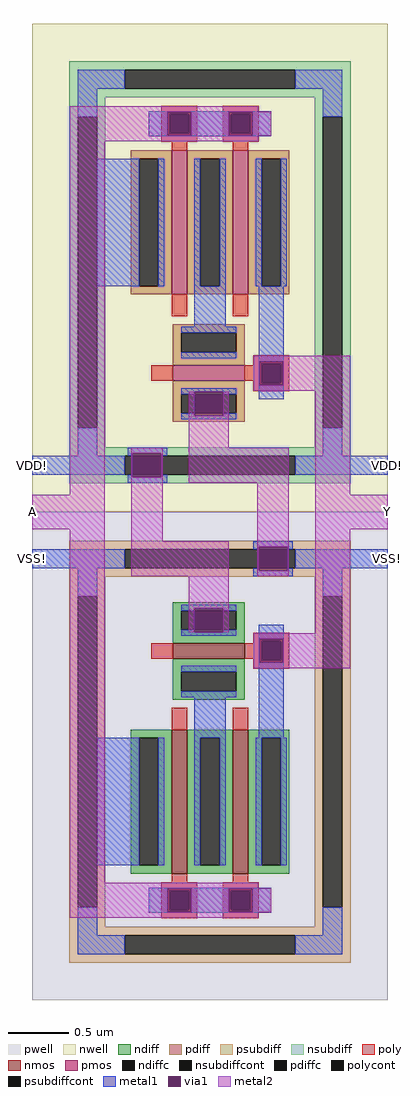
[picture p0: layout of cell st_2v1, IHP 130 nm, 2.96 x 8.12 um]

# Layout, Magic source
magic
tech ihp-sg13g2
magscale 1 2
<< nwell >>
rect -92 -282 500 530
<< pwell >>
rect -92 -1094 500 -282
<< nmos >>
rect 142 -526 262 -500
rect 140 -884 166 -644
rect 242 -884 268 -644
<< pmos >>
rect 140 80 166 320
rect 242 80 268 320
rect 142 -64 262 -38
<< ndiff >>
rect 142 -446 262 -432
rect 142 -478 156 -446
rect 248 -478 262 -446
rect 142 -500 262 -478
rect 142 -548 262 -526
rect 142 -580 156 -548
rect 248 -580 262 -548
rect 142 -594 262 -580
rect 72 -658 140 -644
rect 72 -870 86 -658
rect 118 -870 140 -658
rect 72 -884 140 -870
rect 166 -658 242 -644
rect 166 -870 188 -658
rect 220 -870 242 -658
rect 166 -884 242 -870
rect 268 -658 336 -644
rect 268 -870 290 -658
rect 322 -870 336 -658
rect 268 -884 336 -870
<< pdiff >>
rect 72 306 140 320
rect 72 94 86 306
rect 118 94 140 306
rect 72 80 140 94
rect 166 306 242 320
rect 166 94 188 306
rect 220 94 242 306
rect 166 80 242 94
rect 268 306 336 320
rect 268 94 290 306
rect 322 94 336 306
rect 268 80 336 94
rect 142 16 262 30
rect 142 -16 156 16
rect 248 -16 262 16
rect 142 -38 262 -16
rect 142 -86 262 -64
rect 142 -118 156 -86
rect 248 -118 262 -86
rect 142 -132 262 -118
<< ndiffc >>
rect 156 -478 248 -446
rect 156 -580 248 -548
rect 86 -870 118 -658
rect 188 -870 220 -658
rect 290 -870 322 -658
<< pdiffc >>
rect 86 94 118 306
rect 188 94 220 306
rect 290 94 322 306
rect 156 -16 248 16
rect 156 -118 248 -86
<< psubdiff >>
rect -30 -344 438 -330
rect -30 -376 62 -344
rect 346 -376 438 -344
rect -30 -390 438 -376
rect -30 -422 30 -390
rect -30 -940 -16 -422
rect 16 -940 30 -422
rect 378 -422 438 -390
rect -30 -972 30 -940
rect 378 -940 392 -422
rect 424 -940 438 -422
rect 378 -972 438 -940
rect -30 -986 438 -972
rect -30 -1018 62 -986
rect 346 -1018 438 -986
rect -30 -1032 438 -1018
<< nsubdiff >>
rect -30 454 438 468
rect -30 422 62 454
rect 346 422 438 454
rect -30 408 438 422
rect -30 376 30 408
rect -30 -142 -16 376
rect 16 -142 30 376
rect 378 376 438 408
rect -30 -174 30 -142
rect 378 -142 392 376
rect 424 -142 438 376
rect 378 -174 438 -142
rect -30 -188 438 -174
rect -30 -220 62 -188
rect 346 -220 438 -188
rect -30 -234 438 -220
<< psubdiffcont >>
rect 62 -376 346 -344
rect -16 -940 16 -422
rect 392 -940 424 -422
rect 62 -1018 346 -986
<< nsubdiffcont >>
rect 62 422 346 454
rect -16 -142 16 376
rect 392 -142 424 376
rect 62 -220 346 -188
<< poly >>
rect 123 380 183 394
rect 123 348 137 380
rect 169 348 183 380
rect 123 334 183 348
rect 225 380 285 394
rect 225 348 239 380
rect 271 348 285 380
rect 225 334 285 348
rect 140 320 166 334
rect 242 320 268 334
rect 140 44 166 80
rect 242 44 268 80
rect 276 -35 336 -21
rect 276 -38 290 -35
rect 106 -64 142 -38
rect 262 -64 290 -38
rect 276 -67 290 -64
rect 322 -67 336 -35
rect 276 -81 336 -67
rect 276 -497 336 -483
rect 276 -500 290 -497
rect 106 -526 142 -500
rect 262 -526 290 -500
rect 276 -529 290 -526
rect 322 -529 336 -497
rect 276 -543 336 -529
rect 140 -644 166 -608
rect 242 -644 268 -608
rect 140 -898 166 -884
rect 242 -898 268 -884
rect 123 -912 183 -898
rect 123 -944 137 -912
rect 169 -944 183 -912
rect 123 -958 183 -944
rect 225 -912 285 -898
rect 225 -944 239 -912
rect 271 -944 285 -912
rect 225 -958 285 -944
<< polycont >>
rect 137 348 169 380
rect 239 348 271 380
rect 290 -67 322 -35
rect 290 -529 322 -497
rect 137 -944 169 -912
rect 239 -944 271 -912
<< metal1 >>
rect -16 422 62 454
rect 346 422 424 454
rect -16 376 16 422
rect 102 384 306 385
rect 102 344 133 384
rect 173 344 235 384
rect 275 344 306 384
rect 102 343 306 344
rect 392 376 424 422
rect 16 94 86 306
rect 118 94 128 306
rect 178 94 188 306
rect 220 94 230 306
rect 280 94 290 306
rect 322 94 332 306
rect 178 26 230 94
rect 156 16 248 26
rect 156 -26 248 -16
rect 285 -31 327 94
rect 285 -71 286 -31
rect 326 -71 327 -31
rect 156 -82 248 -76
rect 156 -86 178 -82
rect 226 -86 248 -82
rect 285 -94 327 -71
rect 156 -122 178 -118
rect 226 -122 248 -118
rect 156 -128 248 -122
rect -16 -188 16 -142
rect 67 -184 133 -175
rect 67 -188 75 -184
rect 123 -188 133 -184
rect 392 -188 424 -142
rect -92 -220 62 -188
rect 346 -220 500 -188
rect 67 -224 75 -220
rect 123 -224 133 -220
rect 67 -233 133 -224
rect 276 -340 342 -331
rect 276 -344 285 -340
rect 333 -344 342 -340
rect -92 -376 62 -344
rect 346 -376 500 -344
rect -16 -422 16 -376
rect 276 -380 285 -376
rect 333 -380 342 -376
rect 276 -389 342 -380
rect 392 -422 424 -376
rect 156 -442 248 -436
rect 156 -446 178 -442
rect 226 -446 248 -442
rect 156 -482 178 -478
rect 226 -482 248 -478
rect 156 -488 248 -482
rect 285 -493 327 -470
rect 285 -533 286 -493
rect 326 -533 327 -493
rect 156 -548 248 -538
rect 156 -590 248 -580
rect 178 -658 230 -590
rect 285 -658 327 -533
rect 16 -870 86 -658
rect 118 -870 128 -658
rect 178 -870 188 -658
rect 220 -870 230 -658
rect 280 -870 290 -658
rect 322 -870 332 -658
rect -16 -986 16 -940
rect 102 -908 306 -907
rect 102 -948 133 -908
rect 173 -948 235 -908
rect 275 -948 306 -908
rect 102 -949 306 -948
rect 392 -986 424 -940
rect -16 -1018 62 -986
rect 346 -1018 424 -986
<< via1 >>
rect 133 380 173 384
rect 133 348 137 380
rect 137 348 169 380
rect 169 348 173 380
rect 133 344 173 348
rect 235 380 275 384
rect 235 348 239 380
rect 239 348 271 380
rect 271 348 275 380
rect 235 344 275 348
rect 286 -35 326 -31
rect 286 -67 290 -35
rect 290 -67 322 -35
rect 322 -67 326 -35
rect 286 -71 326 -67
rect 178 -86 226 -82
rect 178 -118 226 -86
rect 178 -122 226 -118
rect 75 -188 123 -184
rect 75 -220 123 -188
rect 75 -224 123 -220
rect 285 -344 333 -340
rect 285 -376 333 -344
rect 285 -380 333 -376
rect 178 -446 226 -442
rect 178 -478 226 -446
rect 178 -482 226 -478
rect 286 -497 326 -493
rect 286 -529 290 -497
rect 290 -529 322 -497
rect 322 -529 326 -497
rect 286 -533 326 -529
rect 133 -912 173 -908
rect 133 -944 137 -912
rect 137 -944 169 -912
rect 169 -944 173 -912
rect 133 -948 173 -944
rect 235 -912 275 -908
rect 235 -944 239 -912
rect 239 -944 271 -912
rect 271 -944 275 -912
rect 235 -948 275 -944
<< metal2 >>
rect -29 384 284 393
rect -29 344 133 384
rect 173 344 235 384
rect 275 344 306 384
rect -29 335 284 344
rect -29 -253 29 335
rect 277 -31 437 -22
rect 277 -71 286 -31
rect 326 -71 437 -31
rect 277 -80 437 -71
rect 169 -122 178 -82
rect 226 -122 235 -82
rect 169 -175 235 -122
rect -92 -311 29 -253
rect -29 -899 29 -311
rect 73 -184 125 -175
rect 73 -224 75 -184
rect 123 -224 125 -184
rect 73 -331 125 -224
rect 169 -233 335 -175
rect 73 -389 235 -331
rect 283 -340 335 -233
rect 283 -380 285 -340
rect 333 -380 335 -340
rect 283 -389 335 -380
rect 379 -253 437 -80
rect 379 -311 500 -253
rect 169 -442 235 -389
rect 169 -482 178 -442
rect 226 -482 235 -442
rect 379 -484 437 -311
rect 277 -493 437 -484
rect 277 -533 286 -493
rect 326 -533 437 -493
rect 277 -542 437 -533
rect -29 -908 284 -899
rect -29 -948 133 -908
rect 173 -948 235 -908
rect 275 -948 306 -908
rect -29 -957 284 -948
<< labels >>
rlabel metal2 500 -282 500 -282 3 Y
rlabel metal2 -92 -282 -92 -282 7 A
rlabel metal1 -92 -204 -92 -204 7 VDD!
rlabel metal1 500 -204 500 -204 3 VDD!
rlabel metal1 -92 -360 -92 -360 7 VSS!
rlabel metal1 500 -360 500 -360 3 VSS!
<< end >>
